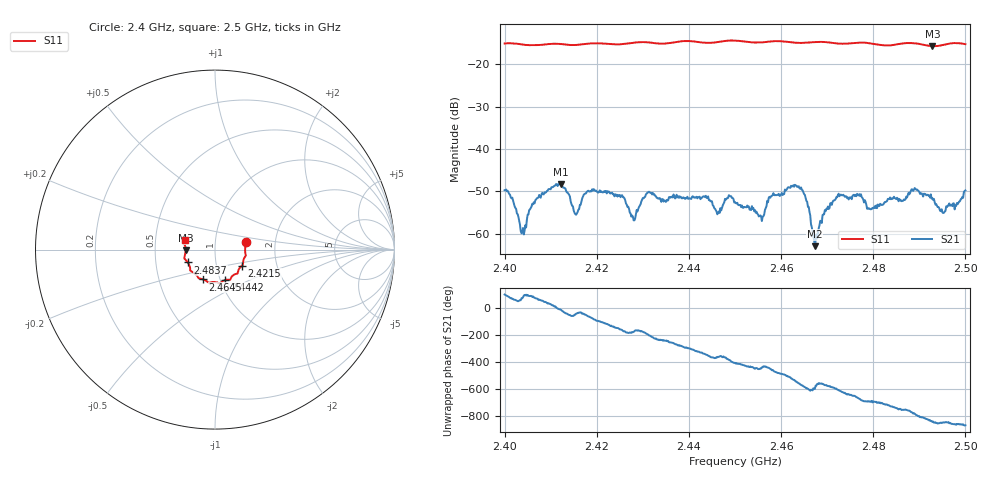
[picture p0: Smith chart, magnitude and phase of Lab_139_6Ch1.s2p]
# Hz S RI R 50
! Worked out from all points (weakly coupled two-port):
!   601 points, 2.4 GHz to 2.5 GHz, reference 50 ohm
!   highest |S21| = -48.25 dB at 2.4122 GHz (marker M1); lowest = -63.0 dB at 2.4673 GHz (marker M2)
!   lowest |S11| = -15.7 dB at 2.4928 GHz (marker M3), VSWR 1.39, Z = 36 - j0.364 ohm
!   |S11| at or under -10 dB: start of sweep to end of sweep
!   S12 and S22 are empty: the file has one direction only
!   S11 on the Smith chart (normalised r, x): 2.4 GHz: 1.41, +0.12; 2.4215 GHz: 1.33, -0.25; 2.4442 GHz: 1.05, -0.37; 2.4645 GHz: 0.83, -0.29; 2.4837 GHz: 0.73, -0.11; 2.5 GHz: 0.71, +0.07
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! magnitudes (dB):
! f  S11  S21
! 2.4 GHz  -15.1  -49.8
! 2.404 GHz  -15.4  -58.7
! 2.4072 GHz  -15.5  -51.6
! 2.4122 GHz  -15.2  -48.2
! 2.4153 GHz  -15.5  -55.4
! 2.4167 GHz  -15.3  -52.4
! 2.4215 GHz  -15.1  -50.2
! 2.428 GHz  -14.9  -56.9
! 2.4333 GHz  -15.1  -51.7
! 2.4442 GHz  -15.0  -51.2
! 2.45 GHz  -14.4  -52.5
! 2.4557 GHz  -14.8  -55.9
! 2.4578 GHz  -14.6  -51.2
! 2.4645 GHz  -15.0  -49.7
! 2.4667 GHz  -14.8  -58.5
! 2.4673 GHz  -14.8  -63.0
! 2.4725 GHz  -15.1  -50.6
! 2.4833 GHz  -15.6  -51.8
! 2.4837 GHz  -15.5  -51.5
! 2.4928 GHz  -15.7  -51.6
! 2.4952 GHz  -15.4  -55.1
! 2.5 GHz  -15.3  -49.8
